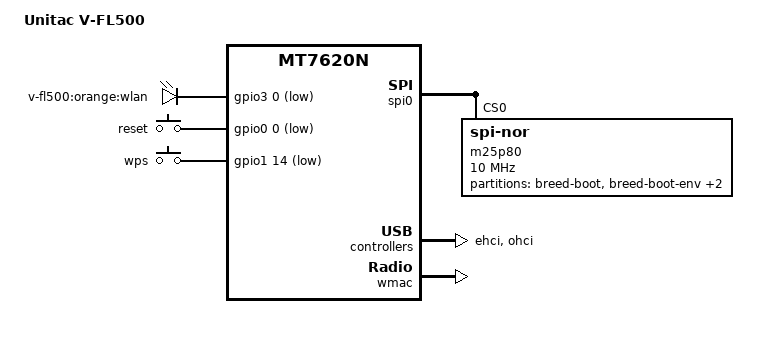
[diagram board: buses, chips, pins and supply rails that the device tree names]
/dts-v1/;

#include "mt7620n.dtsi"

#include <dt-bindings/gpio/gpio.h>
#include <dt-bindings/input/input.h>

/ {
	compatible = "unitac,v-fl500", "ralink,mt7620n-soc";
	model = "Unitac V-FL500";

	chosen {
		bootargs = "console=ttyS0,57600";
	};

	gpio-leds {
		compatible = "gpio-leds";

		wlan {
			label = "v-fl500:orange:wlan";
			gpios = <&gpio3 0 GPIO_ACTIVE_LOW>;
		};

	};

	gpio-keys-polled {
		compatible = "gpio-keys-polled";
		#address-cells = <1>;
		#size-cells = <0>;
		poll-interval = <20>;
		reset {
			label = "reset";
			gpios = <&gpio0 0 GPIO_ACTIVE_LOW>;
			linux,code = <KEY_RESTART>;
		};

		wps {
			label = "wps";
			gpios = <&gpio1 14 GPIO_ACTIVE_LOW>;
			linux,code = <KEY_WPS_BUTTON>;
		};
	};

};

&gpio0 {
	status = "okay";
};

&gpio1 {
	status = "okay";
};

&gpio2 {
	status = "okay";
};

&gpio3 {
	status = "okay";
};

&spi0 {
	status = "okay";

	m25p80@0 {
		#address-cells = <1>;
		#size-cells = <1>;
		compatible = "jedec,spi-nor";
		reg = <0>;
		spi-max-frequency = <10000000>;

		partition@0 {
			label = "breed-boot";
			reg = <0x0 0x30000>;
		};

		partition@30000 {
			label = "breed-boot-env";
			reg = <0x30000 0x10000>;
			read-only;
		};

		factory: partition@40000 {
			label = "factory";
			reg = <0x40000 0x10000>;
			read-only;
		};

		partition@50000 {
			label = "firmware";
			reg = <0x50000 0x7b0000>;
		};
	};
};

&ehci {
	status = "okay";
};

&ohci {
	status = "okay";
};

&ethernet {
	mtd-mac-address = <&factory 0x28>;
	mediatek,portmap = "llllw";
};

&wmac {
	ralink,mtd-eeprom = <&factory 0>;
};

&pinctrl {
	state_default: pinctrl0 {
		gpio {
			ralink,group = "wled", "spi refclk", "nd_sd";
			ralink,function = "gpio";
		};
	};
};

